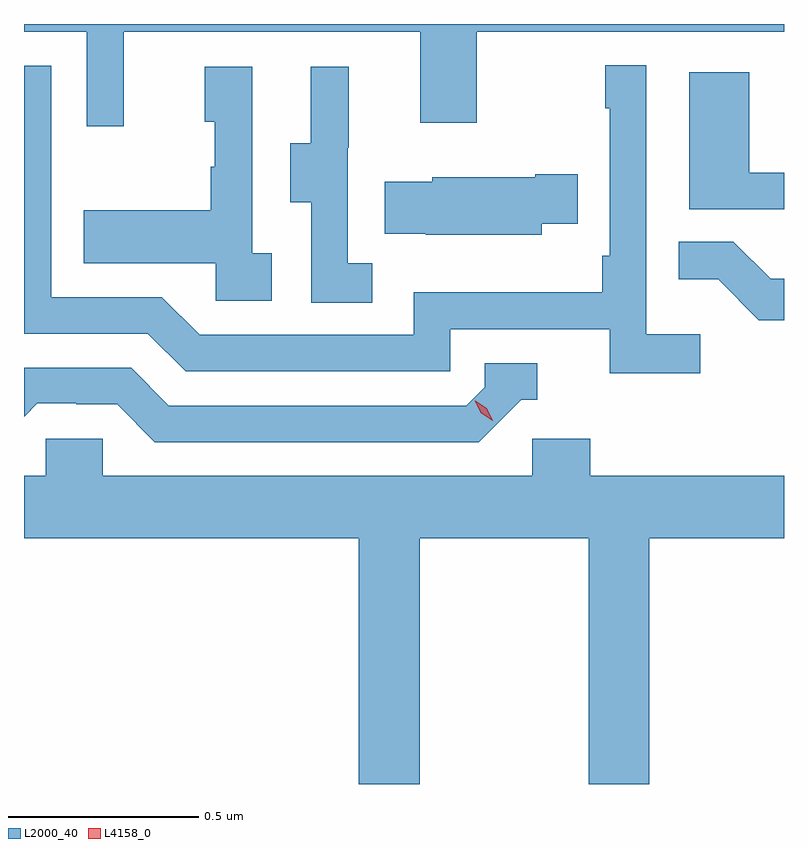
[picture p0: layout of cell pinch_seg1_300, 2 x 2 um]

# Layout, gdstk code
import gdstk
lib = gdstk.Library(unit=1e-6, precision=1e-09)
def P(c, l, *ps):  # polygons
    for p in ps: c.add(gdstk.Polygon(p, *l))
L2000_40 = (2000, 40)
L4158_0 = (4158, 0)

pinch_seg1_300 = lib.new_cell('pinch_seg1_300')
P(pinch_seg1_300, L2000_40, [(940.871,555.728),(941.651,555.728),(941.651,555.489),(941.799,555.489),(941.799,555.728),(942.608,555.728),(942.608,555.749),(940.608,555.749),(940.608,555.728),(940.773,555.728),(940.773,555.48),(940.871,555.48)],
  [(942.388,554.932),(942.246,554.932),(942.246,555.64),(942.138,555.64),(942.138,555.527),(942.15,555.527),(942.15,555.139),(942.13,555.139),(942.13,555.043),(941.634,555.043),(941.634,554.931),(941.07,554.931),(940.971,555.03),(940.68,555.03),(940.68,555.639),(940.608,555.639),(940.608,554.934),(940.934,554.934),(941.033,554.835),(941.73,554.835),(941.73,554.946),(942.149,554.946),(942.149,554.83),(942.388,554.83)],
  [(941.26,555.146),(941.208,555.146),(941.208,555.637),(941.084,555.637),(941.084,555.492),(941.11,555.492),(941.11,555.374),(941.1,555.374),(941.1,555.259),(940.765,555.259),(940.765,555.119),(941.112,555.119),(941.112,555.021),(941.26,555.021)],
  [(941.524,555.119),(941.46,555.119),(941.46,555.423),(941.462,555.423),(941.462,555.637),(941.363,555.637),(941.363,555.435),(941.309,555.435),(941.309,555.28),(941.364,555.28),(941.364,555.016),(941.524,555.016)],
  [(942.608,555.357),(942.517,555.357),(942.517,555.622),(942.359,555.622),(942.359,555.261),(942.608,555.261)],
  [(941.971,555.224),(942.065,555.224),(942.065,555.354),(941.954,555.354),(941.954,555.346),(941.682,555.346),(941.682,555.334),(941.557,555.334),(941.557,555.197),(941.665,555.197),(941.665,555.194),(941.971,555.194)],
  [(942.608,555.078),(942.573,555.078),(942.475,555.176),(942.331,555.176),(942.331,555.077),(942.435,555.077),(942.542,554.97),(942.608,554.97)],
  [(941.916,554.76),(941.959,554.76),(941.959,554.856),(941.82,554.856),(941.82,554.793),(941.772,554.745),(940.989,554.745),(940.89,554.844),(940.608,554.844),(940.608,554.716),(940.643,554.751),(940.746,554.751),(940.746,554.748),(940.853,554.748),(940.952,554.649),(941.805,554.649)],
  [(941.649,554.396),(942.094,554.396),(942.094,553.749),(942.254,553.749),(942.254,554.396),(942.608,554.396),(942.608,554.56),(942.098,554.56),(942.098,554.658),(941.946,554.658),(941.946,554.56),(940.815,554.56),(940.815,554.658),(940.665,554.658),(940.665,554.56),(940.608,554.56),(940.608,554.396),(941.489,554.396),(941.489,553.749),(941.649,553.749)])
P(pinch_seg1_300, L4158_0, [(941.842,554.705),(941.811,554.725),(941.794,554.758),(941.794,554.758),(941.795,554.758),(941.826,554.738),(941.842,554.706),(941.842,554.705)])

lib.write_gds('pinch_seg1_300.gds')
